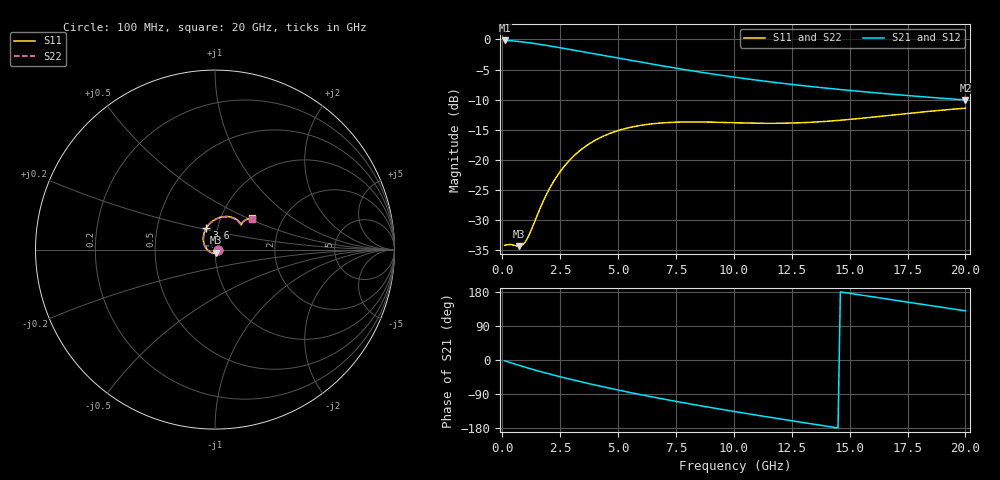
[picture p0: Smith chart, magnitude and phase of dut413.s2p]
! Touchstone file exported from HFSS 2024.1.0
!  File:  C:/UserFiles/LocalFiles/RDL_TSV_Batchsim/temp_RDL_TSV_413_1779715143.aedt
!  Generated:  09:37:49 PM May 25, 2026
!  Design:  RDL_TSV
!  Project:  temp_RDL_TSV_413_1779715143
!  Setup:  Setup1
!  Solution:  Sweep
! Variables:
!  dtsv = 10.29um
!  hbump = 3um
!  htsv = 91.25um
!  ldown = 582.5um
!  lrdl = 363.18um
!  p = 40
!  p1 = 43.87um
!  rhole = 10um
!  subl = 3200.22um
!  t = 450um
!  tdown = 2.05um
!  trdl = 2.99um
!  viad = 10um
!  wdown = 25.42um
!  wrdl = 24.3um
!  xbump = 18um
# GHz S MA R 50.000000
! Terminal data exported
! Port[1] = TM1_1_T1
! Port[2] = TM1_4_T1
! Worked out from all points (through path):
!   200 points, 100 MHz to 20 GHz, reference 50 ohm
!   highest |S21| = -0.18 dB at 100 MHz (marker M1); lowest = -10.0 dB at 20 GHz (marker M2)
!   group delay of S21, straight-line fit = 30.3 ps
!   lowest |S11| = -34.3 dB at 700 MHz (marker M3), VSWR 1.04, Z = 50.7 - j1.8 ohm
!   |S11| at or under -10 dB: start of sweep to end of sweep
!   |S22| runs from -34.3 to -11.5 dB; largest |S21 - S12| = 1.6e-14
!   S11 on the Smith chart (normalised r, x): 100 MHz: 1.04, -0.00; 3.6 GHz: 0.88, +0.22; 20 GHz: 1.40, +0.52
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0.1  0.01958 -6.6  0.9799 -2.0  0.9799 -2.0  0.01958 -6.6
! Gamma 0 0 0 0
! Port Impedance 50 0 50 0
0.3  0.01991 -22.5  0.9757 -6.0  0.9757 -6.0  0.01992 -22.5
0.7  0.01928 -67.3  0.9612 -13.7  0.9612 -13.7  0.01931 -67.2
0.9  0.01995 -94.7  0.9519 -17.4  0.9519 -17.4  0.01997 -94.4
1.1  0.02266 -121.7  0.9414 -21.0  0.9414 -21.0  0.02265 -121.4
1.8  0.04683 175.8  0.8986 -33.1  0.8986 -33.1  0.04654 176.1
2.3  0.07036 151.3  0.8657 -41.1  0.8657 -41.1  0.06986 151.4
2.9  0.09922 130.3  0.8266 -50.2  0.8266 -50.2  0.09846 130.4
3.5  0.1259 114.2  0.7887 -58.9  0.7887 -58.9  0.1248 114.3
3.6  0.13 111.9  0.7825 -60.4  0.7825 -60.4  0.1289 111.9
4.3  0.1555 97.3  0.7404 -70.0  0.7404 -70.0  0.1542 97.3
5  0.1752 85.4  0.7004 -79.2  0.7004 -79.2  0.1737 85.4
5.9  0.1926 73.1  0.6523 -90.5  0.6523 -90.5  0.1908 73.1
6.8  0.2022 63.5  0.6083 -101.2  0.6083 -101.2  0.2003 63.5
8.4  0.2067 51.9  0.541 -119.0  0.541 -119.0  0.2045 51.9
10.1  0.2034 45.5  0.4839 -136.7  0.4839 -136.7  0.2012 45.5
11.7  0.2014 43.6  0.4413 -152.6  0.4413 -152.6  0.1993 43.7
13.4  0.2057 44.0  0.4051 -168.9  0.4051 -168.9  0.2037 44.2
15  0.2168 44.7  0.3773 176.0  0.3773 176.0  0.2151 44.8
16.7  0.234 44.4  0.3525 160.1  0.3525 160.1  0.2324 44.5
18.4  0.2528 42.7  0.3315 144.4  0.3315 144.4  0.2512 42.8
20  0.2688 40.2  0.3145 129.8  0.3145 129.8  0.2673 40.3
